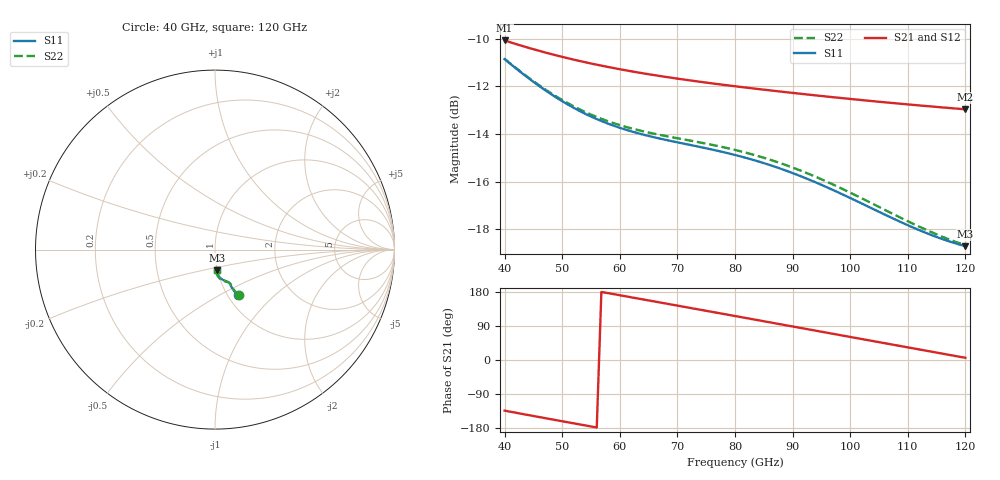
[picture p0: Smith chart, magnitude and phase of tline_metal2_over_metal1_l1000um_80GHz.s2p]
#  GHZ S DB R 50
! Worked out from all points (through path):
!   101 points, 40 GHz to 120 GHz, reference 50 ohm
!   highest |S21| = -10.08 dB at 40 GHz (marker M1); lowest = -13.0 dB at 120 GHz (marker M2)
!   group delay of S21, straight-line fit = 7.65 ps
!   lowest |S11| = -18.7 dB at 120 GHz (marker M3), VSWR 1.26, Z = 50 - j11.7 ohm
!   |S11| at or under -10 dB: start of sweep to end of sweep
!   |S22| runs from -18.7 to -10.9 dB; largest |S21 - S12| = 3.1e-13
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40  -10.86 -63.0  -10.08 -133.6  -10.08 -133.6  -10.85 -62.5
43.2  -11.49 -64.4  -10.32 -142.7  -10.32 -142.7  -11.47 -63.8
46.4  -12.06 -65.4  -10.54 -151.7  -10.54 -151.7  -12.03 -64.6
49.6  -12.57 -65.9  -10.75 -160.5  -10.75 -160.5  -12.52 -65.2
53.6  -13.11 -66.3  -10.97 -171.6  -10.97 -171.6  -13.04 -65.5
56.8  -13.46 -66.5  -11.14 179.7  -11.14 179.7  -13.37 -65.7
60  -13.74 -66.7  -11.29 170.9  -11.29 170.9  -13.63 -65.9
63.2  -13.97 -67.1  -11.42 162.1  -11.42 162.1  -13.84 -66.4
67.2  -14.21 -67.9  -11.58 151.2  -11.58 151.2  -14.05 -67.3
73.6  -14.53 -69.9  -11.80 133.6  -11.80 133.6  -14.34 -69.5
76.8  -14.70 -71.3  -11.90 124.8  -11.90 124.8  -14.50 -71.1
80  -14.88 -72.9  -12.00 116.0  -12.00 116.0  -14.67 -72.8
83.2  -15.09 -74.5  -12.09 107.2  -12.09 107.2  -14.87 -74.6
86.4  -15.33 -76.3  -12.18 98.4  -12.18 98.4  -15.11 -76.4
89.6  -15.60 -77.9  -12.27 89.6  -12.27 89.6  -15.37 -78.3
93.6  -15.99 -79.9  -12.37 78.6  -12.37 78.6  -15.76 -80.5
96.8  -16.33 -81.3  -12.45 69.7  -12.45 69.7  -16.10 -82.1
100  -16.69 -82.5  -12.53 60.9  -12.53 60.9  -16.46 -83.5
107.2  -17.52 -84.1  -12.70 41.0  -12.70 41.0  -17.33 -85.7
113.6  -18.19 -84.2  -12.84 23.4  -12.84 23.4  -18.06 -86.2
116.8  -18.47 -83.9  -12.90 14.6  -12.90 14.6  -18.38 -86.1
120  -18.70 -83.5  -12.97 5.7  -12.97 5.7  -18.66 -85.9
